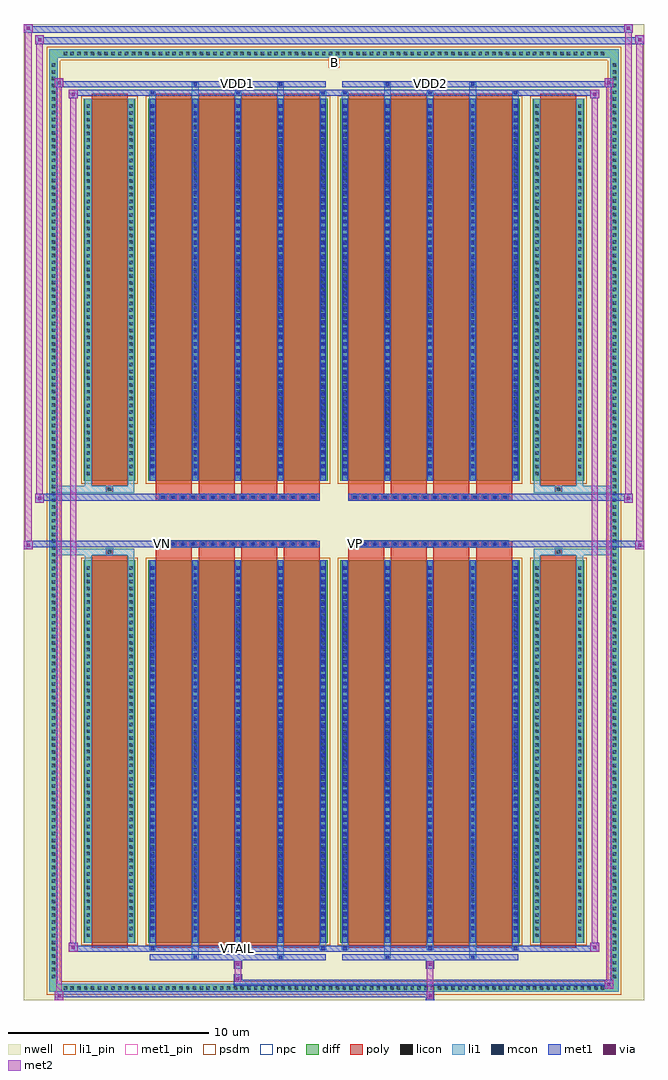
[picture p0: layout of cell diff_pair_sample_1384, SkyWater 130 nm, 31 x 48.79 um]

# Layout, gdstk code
import gdstk
lib = gdstk.Library(unit=1e-6, precision=5e-09)
def R(c, l, rs):  # rectangles x0, y0, x1, y1
    for r in rs: c.add(gdstk.rectangle(r[:2], r[2:], *l))
def A(c, l, x, y, w, h, nx, ny, dx, dy):  # array of equal rectangles
    R(c, l, [(x+i*dx, y+j*dy, x+i*dx+w, y+j*dy+h) for i in range(nx) for j in range(ny)])
def P(c, l, *ps):  # polygons
    for p in ps: c.add(gdstk.Polygon(p, *l))
nwell = (64, 20)
diff = (65, 20)
poly = (66, 20)
licon = (66, 44)
li1_pin = (67, 16)
li1 = (67, 20)
mcon = (67, 44)
met1_pin = (68, 16)
met1 = (68, 20)
via = (68, 44)
met2 = (69, 20)
psdm = (94, 20)
npc = (95, 20)

diff_pair_sample_1384 = lib.new_cell('diff_pair_sample_1384')
R(diff_pair_sample_1384, nwell, [(-15.5,-23.96,15.5,24.83), (-12.82,-22.15,-0.01,-0.805), (0.01,-22.15,12.82,-0.805), (-12.82,0.805,-0.01,22.15), (0.01,0.805,12.82,22.15)])
A(diff_pair_sample_1384, diff, -13.635, -23.56, 0.41, 0.41, 80, 2, 0.34, 46.71)
A(diff_pair_sample_1384, diff, -14.23, -22.985, 0.41, 0.41, 1, 135, 0, 0.34)
A(diff_pair_sample_1384, diff, 13.82, -22.985, 0.41, 0.41, 1, 135, 0, 0.34)
R(diff_pair_sample_1384, diff, [(-13.635,-23.56,13.635,-23.15), (-14.23,-22.985,-13.82,22.985), (13.82,-22.985,14.23,22.985), (-12.51,-21.105,-9.93,-1.985), (-9.29,-21.105,-0.32,-1.985), (0.32,-21.105,9.29,-1.985), (9.93,-21.105,12.51,-1.985), (-12.51,1.985,-9.93,21.105), (-9.29,1.985,-0.32,21.105), (0.32,1.985,9.29,21.105), (9.93,1.985,12.51,21.105), (-13.635,23.15,13.635,23.56)])
P(diff_pair_sample_1384, diff, [(14.23,23.56),(-14.23,23.56),(-14.23,-23.15),(-13.82,-23.15),(-13.82,23.15),(13.82,23.15),(13.82,-23.15),(-13.82,-23.15),(-14.23,-23.15),(-14.23,-23.56),(14.23,-23.56)])
A(diff_pair_sample_1384, poly, -8.9, -21.355, 1.8, 19.62, 4, 2, 2.13, 23.09)
A(diff_pair_sample_1384, poly, 0.71, -21.355, 1.8, 19.62, 4, 2, 2.13, 23.09)
A(diff_pair_sample_1384, poly, -8.9, -1.735, 1.8, 0.4, 4, 2, 2.13, 3.07)
A(diff_pair_sample_1384, poly, 0.71, -1.735, 1.8, 0.4, 4, 2, 2.13, 3.07)
A(diff_pair_sample_1384, poly, -8.72, -1.335, 0.33, 0.33, 16, 2, 0.5, 2.34)
A(diff_pair_sample_1384, poly, 0.89, -1.335, 0.33, 0.33, 16, 2, 0.5, 2.34)
R(diff_pair_sample_1384, poly, [(-12.12,-21.355,-10.32,-1.735), (10.32,-21.355,12.12,-1.735), (-11.385,-1.735,-11.055,-1.405), (-11.385,-1.735,-11.055,-1.405), (11.055,-1.735,11.385,-1.405), (11.055,-1.735,11.385,-1.405), (-8.9,-1.335,-0.71,-1.005), (0.71,-1.335,8.9,-1.005), (-8.9,1.005,-0.71,1.335), (0.71,1.005,8.9,1.335), (-11.385,1.405,-11.055,1.735), (-11.385,1.405,-11.055,1.735), (11.055,1.405,11.385,1.735), (11.055,1.405,11.385,1.735), (-12.12,1.735,-10.32,21.355), (10.32,1.735,12.12,21.355)])
A(diff_pair_sample_1384, licon, -13.515, -23.44, 0.17, 0.17, 80, 2, 0.34, 46.71)
A(diff_pair_sample_1384, licon, -14.11, -22.865, 0.17, 0.17, 1, 135, 0, 0.34)
A(diff_pair_sample_1384, licon, 13.94, -22.865, 0.17, 0.17, 1, 135, 0, 0.34)
A(diff_pair_sample_1384, licon, -12.37, -20.81, 0.17, 0.17, 1, 55, 0, 0.34)
A(diff_pair_sample_1384, licon, -10.24, -20.81, 0.17, 0.17, 1, 55, 0, 0.34)
A(diff_pair_sample_1384, licon, -9.15, -20.81, 0.17, 0.17, 5, 55, 2.13, 0.34)
A(diff_pair_sample_1384, licon, 0.46, -20.81, 0.17, 0.17, 5, 55, 2.13, 0.34)
A(diff_pair_sample_1384, licon, 10.07, -20.81, 0.17, 0.17, 1, 55, 0, 0.34)
A(diff_pair_sample_1384, licon, 12.2, -20.81, 0.17, 0.17, 1, 55, 0, 0.34)
A(diff_pair_sample_1384, licon, -8.64, -1.255, 0.17, 0.17, 16, 2, 0.5, 2.34)
A(diff_pair_sample_1384, licon, 0.97, -1.255, 0.17, 0.17, 16, 2, 0.5, 2.34)
A(diff_pair_sample_1384, licon, -12.37, 2.28, 0.17, 0.17, 1, 55, 0, 0.34)
A(diff_pair_sample_1384, licon, -10.24, 2.28, 0.17, 0.17, 1, 55, 0, 0.34)
A(diff_pair_sample_1384, licon, -9.15, 2.28, 0.17, 0.17, 5, 55, 2.13, 0.34)
A(diff_pair_sample_1384, licon, 0.46, 2.28, 0.17, 0.17, 5, 55, 2.13, 0.34)
A(diff_pair_sample_1384, licon, 10.07, 2.28, 0.17, 0.17, 1, 55, 0, 0.34)
A(diff_pair_sample_1384, licon, 12.2, 2.28, 0.17, 0.17, 1, 55, 0, 0.34)
R(diff_pair_sample_1384, licon, [(-11.305,-1.655,-11.135,-1.485), (11.135,-1.655,11.305,-1.485), (-11.305,1.485,-11.135,1.655), (11.135,1.485,11.305,1.655)])
R(diff_pair_sample_1384, li1_pin, [(-0.25,22.65,0.25,23.15)])
A(diff_pair_sample_1384, li1, -13.595, -23.52, 0.33, 0.33, 80, 2, 0.34, 46.71)
A(diff_pair_sample_1384, li1, -14.19, -22.945, 0.33, 0.33, 1, 135, 0, 0.34)
A(diff_pair_sample_1384, li1, 13.86, -22.945, 0.33, 0.33, 1, 135, 0, 0.34)
A(diff_pair_sample_1384, li1, -9.23, -21.48, 0.33, 0.375, 3, 2, 4.26, 42.585)
A(diff_pair_sample_1384, li1, -9.15, -21.48, 0.17, 0.17, 3, 2, 4.26, 42.79)
A(diff_pair_sample_1384, li1, 0.38, -21.48, 0.33, 0.375, 3, 2, 4.26, 42.585)
A(diff_pair_sample_1384, li1, 0.46, -21.48, 0.17, 0.17, 3, 2, 4.26, 42.79)
A(diff_pair_sample_1384, li1, -9.23, -21.105, 0.33, 19.12, 5, 2, 2.13, 23.09)
A(diff_pair_sample_1384, li1, 0.38, -21.105, 0.33, 19.12, 5, 2, 2.13, 23.09)
A(diff_pair_sample_1384, li1, -12.45, -20.89, 0.33, 0.33, 1, 55, 0, 0.34)
A(diff_pair_sample_1384, li1, -10.32, -20.89, 0.33, 0.33, 1, 55, 0, 0.34)
A(diff_pair_sample_1384, li1, -9.23, -20.89, 0.33, 0.33, 5, 55, 2.13, 0.34)
A(diff_pair_sample_1384, li1, 0.38, -20.89, 0.33, 0.33, 5, 55, 2.13, 0.34)
A(diff_pair_sample_1384, li1, 9.99, -20.89, 0.33, 0.33, 1, 55, 0, 0.34)
A(diff_pair_sample_1384, li1, 12.12, -20.89, 0.33, 0.33, 1, 55, 0, 0.34)
A(diff_pair_sample_1384, li1, -9.15, -20.81, 0.17, 0.17, 5, 52, 2.13, 0.36)
A(diff_pair_sample_1384, li1, -9.15, -20.81, 0.17, 18.53, 5, 2, 2.13, 23.09)
A(diff_pair_sample_1384, li1, 0.46, -20.81, 0.17, 0.17, 5, 52, 2.13, 0.36)
A(diff_pair_sample_1384, li1, 0.46, -20.81, 0.17, 18.53, 5, 2, 2.13, 23.09)
A(diff_pair_sample_1384, li1, -8.72, -1.335, 0.33, 0.33, 16, 2, 0.5, 2.34)
A(diff_pair_sample_1384, li1, 0.89, -1.335, 0.33, 0.33, 16, 2, 0.5, 2.34)
A(diff_pair_sample_1384, li1, -12.45, 2.2, 0.33, 0.33, 1, 55, 0, 0.34)
A(diff_pair_sample_1384, li1, -10.32, 2.2, 0.33, 0.33, 1, 55, 0, 0.34)
A(diff_pair_sample_1384, li1, -9.23, 2.2, 0.33, 0.33, 5, 55, 2.13, 0.34)
A(diff_pair_sample_1384, li1, 0.38, 2.2, 0.33, 0.33, 5, 55, 2.13, 0.34)
A(diff_pair_sample_1384, li1, 9.99, 2.2, 0.33, 0.33, 1, 55, 0, 0.34)
A(diff_pair_sample_1384, li1, 12.12, 2.2, 0.33, 0.33, 1, 55, 0, 0.34)
A(diff_pair_sample_1384, li1, -9.15, 2.28, 0.17, 0.17, 5, 52, 2.13, 0.36)
A(diff_pair_sample_1384, li1, 0.46, 2.28, 0.17, 0.17, 5, 52, 2.13, 0.36)
R(diff_pair_sample_1384, li1, [(-14.23,-23.56,-13.82,-23.15), (-14.23,-23.56,-13.82,-23.15), (-13.82,-23.56,13.82,-23.15), (13.82,-23.56,14.23,-23.15), (13.82,-23.56,14.23,-23.15), (-14.23,-23.15,-13.82,23.15), (13.82,-23.15,14.23,23.15), (-7.1,-21.91,-6.77,-21.105), (-7.02,-21.91,-6.85,-21.74), (-2.84,-21.91,-2.51,-21.105), (-2.76,-21.91,-2.59,-21.74), (2.51,-21.91,2.84,-21.105), (2.59,-21.91,2.76,-21.74), (6.77,-21.91,7.1,-21.105), (6.85,-21.91,7.02,-21.74), (-12.45,-21.105,-12.12,-1.985), (-10.32,-21.105,-9.99,-1.985), (9.99,-21.105,10.32,-1.985), (12.12,-21.105,12.45,-1.985), (-12.45,-1.985,-12.12,-1.405), (-10.32,-1.985,-9.99,-1.405), (9.99,-1.985,10.32,-1.405), (12.12,-1.985,12.45,-1.405), (-14.23,-1.735,-11.385,-1.405), (-12.45,-1.735,-11.385,-1.405), (-11.385,-1.735,-11.055,-1.405), (-11.055,-1.735,-9.99,-1.405), (9.99,-1.735,11.055,-1.405), (11.055,-1.735,11.385,-1.405), (11.055,-1.735,14.23,-1.405), (11.385,-1.735,12.45,-1.405), (-14.23,1.405,-11.385,1.735), (-12.45,1.405,-11.385,1.735), (-12.45,1.405,-12.12,1.985), (-11.385,1.405,-11.055,1.735), (-11.055,1.405,-9.99,1.735), (-10.32,1.405,-9.99,1.985), (9.99,1.405,11.055,1.735), (9.99,1.405,10.32,1.985), (11.055,1.405,11.385,1.735), (11.055,1.405,14.23,1.735), (11.385,1.405,12.45,1.735), (12.12,1.405,12.45,1.985), (-12.45,1.985,-12.12,21.105), (-10.32,1.985,-9.99,21.105), (9.99,1.985,10.32,21.105), (12.12,1.985,12.45,21.105), (-7.1,21.105,-6.77,21.91), (-2.84,21.105,-2.51,21.91), (2.51,21.105,2.84,21.91), (6.77,21.105,7.1,21.91), (-7.02,21.74,-6.85,21.91), (-2.76,21.74,-2.59,21.91), (2.59,21.74,2.76,21.91), (6.85,21.74,7.02,21.91), (-14.23,23.15,-13.82,23.56), (-14.23,23.15,-13.82,23.56), (-13.82,23.15,13.82,23.56), (13.82,23.15,14.23,23.56), (13.82,23.15,14.23,23.56)])
A(diff_pair_sample_1384, mcon, -9.15, -21.48, 0.17, 0.17, 3, 2, 4.26, 42.79)
A(diff_pair_sample_1384, mcon, 0.46, -21.48, 0.17, 0.17, 3, 2, 4.26, 42.79)
A(diff_pair_sample_1384, mcon, -9.15, -20.81, 0.17, 0.17, 5, 52, 2.13, 0.36)
A(diff_pair_sample_1384, mcon, 0.46, -20.81, 0.17, 0.17, 5, 52, 2.13, 0.36)
A(diff_pair_sample_1384, mcon, -8.64, -1.255, 0.17, 0.17, 16, 2, 0.5, 2.34)
A(diff_pair_sample_1384, mcon, 0.97, -1.255, 0.17, 0.17, 16, 2, 0.5, 2.34)
A(diff_pair_sample_1384, mcon, -9.15, 2.28, 0.17, 0.17, 5, 52, 2.13, 0.36)
A(diff_pair_sample_1384, mcon, 0.46, 2.28, 0.17, 0.17, 5, 52, 2.13, 0.36)
R(diff_pair_sample_1384, mcon, [(-7.02,-21.91,-6.85,-21.74), (-2.76,-21.91,-2.59,-21.74), (2.59,-21.91,2.76,-21.74), (6.85,-21.91,7.02,-21.74), (-7.02,21.74,-6.85,21.91), (-2.76,21.74,-2.59,21.91), (2.59,21.74,2.76,21.91), (6.85,21.74,7.02,21.91)])
R(diff_pair_sample_1384, met1_pin, [(-4.94,-21.52,-4.67,-21.25), (-8.69,-1.295,-8.42,-1.025), (0.92,-1.295,1.19,-1.025), (-4.94,21.7,-4.67,21.97), (4.67,21.7,4.94,21.97)])
A(diff_pair_sample_1384, met1, -9.21, -21.54, 0.29, 0.29, 3, 2, 4.26, 42.79)
A(diff_pair_sample_1384, met1, 0.4, -21.54, 0.29, 0.29, 3, 2, 4.26, 42.79)
A(diff_pair_sample_1384, met1, -9.21, -21.105, 0.29, 19.12, 5, 2, 2.13, 23.09)
A(diff_pair_sample_1384, met1, 0.4, -21.105, 0.29, 19.12, 5, 2, 2.13, 23.09)
A(diff_pair_sample_1384, met1, -9.21, -20.87, 0.29, 0.29, 5, 52, 2.13, 0.36)
A(diff_pair_sample_1384, met1, 0.4, -20.87, 0.29, 0.29, 5, 52, 2.13, 0.36)
A(diff_pair_sample_1384, met1, -8.7, -1.315, 0.29, 0.29, 16, 2, 0.5, 2.34)
A(diff_pair_sample_1384, met1, 0.91, -1.315, 0.29, 0.29, 16, 2, 0.5, 2.34)
A(diff_pair_sample_1384, met1, -9.21, 2.22, 0.29, 0.29, 5, 52, 2.13, 0.36)
A(diff_pair_sample_1384, met1, 0.4, 2.22, 0.29, 0.29, 5, 52, 2.13, 0.36)
R(diff_pair_sample_1384, met1, [(-13.96,-23.96,-13.53,-23.53), (4.59,-23.96,5.02,-23.53), (-13.96,-23.82,5.02,-23.53), (13.53,-23.39,13.96,-22.96), (-5.02,-23.25,13.96,-22.96), (-5.02,-23.11,-4.59,-22.68), (-5.02,-22.4,-4.59,-21.97), (4.59,-22.4,5.02,-21.97), (-9.21,-21.97,-0.4,-21.68), (-7.08,-21.97,-6.79,-21.68), (-2.82,-21.97,-2.53,-21.68), (0.4,-21.97,9.21,-21.68), (2.53,-21.97,2.82,-21.68), (6.79,-21.97,7.08,-21.68), (-13.25,-21.54,-12.82,-21.11), (-13.25,-21.54,-9.21,-21.25), (-9.21,-21.54,-0.4,-21.25), (-0.4,-21.54,0.4,-21.25), (0.4,-21.54,9.21,-21.25), (9.21,-21.54,13.25,-21.25), (12.82,-21.54,13.25,-21.11), (-15.5,-1.435,-15.07,-1.005), (15.07,-1.435,15.5,-1.005), (-15.5,-1.335,-0.71,-1.005), (-8.9,-1.335,-0.71,-1.005), (0.71,-1.335,8.9,-1.005), (0.71,-1.335,15.5,-1.005), (-14.93,0.905,-14.5,1.335), (14.5,0.905,14.93,1.335), (-14.93,1.005,-8.9,1.335), (-8.9,1.005,-0.71,1.335), (0.71,1.005,8.9,1.335), (8.9,1.005,14.93,1.335), (-13.25,21.11,-12.82,21.54), (12.82,21.11,13.25,21.54), (-13.25,21.25,-9.21,21.54), (-9.21,21.25,-0.4,21.54), (-0.4,21.25,0.4,21.54), (0.4,21.25,9.21,21.54), (9.21,21.25,13.25,21.54), (-13.96,21.68,-13.53,22.11), (-13.96,21.68,-9.21,21.97), (-9.21,21.68,-0.4,21.97), (-7.08,21.68,-6.79,21.97), (-2.82,21.68,-2.53,21.97), (0.4,21.68,9.21,21.97), (2.53,21.68,2.82,21.97), (6.79,21.68,7.08,21.97), (9.21,21.68,13.96,21.97), (13.53,21.68,13.96,22.11), (-14.93,23.83,-14.5,24.26), (-14.93,23.83,-12.82,24.16), (-12.82,23.83,12.82,24.16), (12.82,23.83,15.5,24.16), (15.07,23.83,15.5,24.26), (-15.5,24.4,-15.07,24.83), (-15.5,24.4,-12.82,24.73), (-12.82,24.4,12.82,24.73), (12.82,24.4,14.93,24.73), (14.5,24.4,14.93,24.83)])
R(diff_pair_sample_1384, via, [(-13.82,-23.82,-13.67,-23.67), (4.73,-23.82,4.88,-23.67), (13.67,-23.25,13.82,-23.1), (-4.88,-22.97,-4.73,-22.82), (-4.88,-22.26,-4.73,-22.11), (4.73,-22.26,4.88,-22.11), (-13.11,-21.4,-12.96,-21.25), (12.96,-21.4,13.11,-21.25), (-15.36,-1.295,-15.21,-1.145), (15.21,-1.295,15.36,-1.145), (-14.79,1.045,-14.64,1.195), (14.64,1.045,14.79,1.195), (-13.11,21.25,-12.96,21.4), (12.96,21.25,13.11,21.4), (-13.82,21.82,-13.67,21.97), (13.67,21.82,13.82,21.97), (-14.79,23.97,-14.64,24.12), (15.21,23.97,15.36,24.12), (-15.36,24.54,-15.21,24.69), (14.64,24.54,14.79,24.69)])
R(diff_pair_sample_1384, met2, [(-13.96,-23.96,-13.53,-23.53), (-13.89,-23.96,-13.6,22.11), (-13.6,-23.96,-13.53,-23.53), (-13.91,-23.91,-13.58,-23.58), (4.64,-23.91,4.97,-23.58), (4.64,-23.58,4.97,-22.35), (13.53,-23.39,13.96,-22.96), (13.6,-23.39,13.89,22.11), (13.89,-23.39,13.96,-22.96), (13.58,-23.34,13.91,-23.01), (-4.97,-23.06,-4.64,-22.73), (-4.97,-22.73,-4.64,-22.35), (-4.97,-22.35,-4.64,-22.02), (4.64,-22.35,4.97,-22.02), (-13.25,-21.54,-12.82,-21.11), (-13.18,-21.54,-12.89,21.54), (-12.89,-21.54,-12.82,-21.11), (12.82,-21.54,13.25,-21.11), (12.89,-21.54,13.18,21.54), (13.18,-21.54,13.25,-21.11), (-13.2,-21.49,-12.87,-21.16), (12.87,-21.49,13.2,-21.16), (-15.5,-1.435,-15.07,-1.005), (-15.45,-1.435,-15.12,24.83), (-15.12,-1.435,-15.07,-1.005), (15.07,-1.435,15.5,-1.005), (15.12,-1.435,15.45,24.26), (15.45,-1.435,15.5,-1.005), (-15.45,-1.385,-15.12,-1.055), (15.12,-1.385,15.45,-1.055), (-14.93,0.905,-14.5,1.335), (-14.88,0.905,-14.55,24.26), (-14.55,0.905,-14.5,1.335), (14.5,0.905,14.93,1.335), (14.55,0.905,14.88,24.83), (14.88,0.905,14.93,1.335), (-14.88,0.955,-14.55,1.285), (14.55,0.955,14.88,1.285), (-13.25,21.11,-12.82,21.54), (-12.89,21.11,-12.82,21.54), (12.82,21.11,13.25,21.54), (13.18,21.11,13.25,21.54), (-13.2,21.16,-12.87,21.49), (12.87,21.16,13.2,21.49), (-13.96,21.68,-13.53,22.11), (-13.6,21.68,-13.53,22.11), (13.53,21.68,13.96,22.11), (13.89,21.68,13.96,22.11), (-13.91,21.73,-13.58,22.06), (13.58,21.73,13.91,22.06), (-14.93,23.83,-14.5,24.26), (-14.55,23.83,-14.5,24.26), (15.07,23.83,15.5,24.26), (15.45,23.83,15.5,24.26), (-14.88,23.88,-14.55,24.21), (15.12,23.88,15.45,24.21), (-15.5,24.4,-15.07,24.83), (-15.12,24.4,-15.07,24.83), (14.5,24.4,14.93,24.83), (14.88,24.4,14.93,24.83), (-15.45,24.45,-15.12,24.78), (14.55,24.45,14.88,24.78)])
R(diff_pair_sample_1384, psdm, [(-12.64,-21.235,-9.8,-1.855), (-9.42,-21.235,-0.19,-1.855), (0.19,-21.235,9.42,-1.855), (9.8,-21.235,12.64,-1.855), (-12.64,1.855,-9.8,21.235), (-9.42,1.855,-0.19,21.235), (0.19,1.855,9.42,21.235), (9.8,1.855,12.64,21.235)])
P(diff_pair_sample_1384, psdm, [(14.36,23.69),(-14.36,23.69),(-14.36,-23.02),(-13.69,-23.02),(-13.69,23.02),(13.69,23.02),(13.69,-23.02),(-13.69,-23.02),(-14.36,-23.02),(-14.36,-23.69),(14.36,-23.69)])
A(diff_pair_sample_1384, npc, -8.74, -1.355, 0.37, 0.37, 16, 2, 0.5, 2.34)
A(diff_pair_sample_1384, npc, 0.87, -1.355, 0.37, 0.37, 16, 2, 0.5, 2.34)
R(diff_pair_sample_1384, npc, [(-11.405,-1.755,-11.035,-1.385), (11.035,-1.755,11.405,-1.385), (-8.74,-1.355,-7.87,-0.985), (-8.74,-1.355,-7.87,-0.985), (-8.24,-1.355,-7.37,-0.985), (-8.24,-1.355,-7.37,-0.985), (-7.74,-1.355,-6.87,-0.985), (-7.74,-1.355,-6.87,-0.985), (-7.24,-1.355,-6.37,-0.985), (-7.24,-1.355,-6.37,-0.985), (-6.74,-1.355,-5.87,-0.985), (-6.74,-1.355,-5.87,-0.985), (-6.24,-1.355,-5.37,-0.985), (-6.24,-1.355,-5.37,-0.985), (-5.74,-1.355,-4.87,-0.985), (-5.74,-1.355,-4.87,-0.985), (-5.24,-1.355,-4.37,-0.985), (-5.24,-1.355,-4.37,-0.985), (-4.74,-1.355,-3.87,-0.985), (-4.74,-1.355,-3.87,-0.985), (-4.24,-1.355,-3.37,-0.985), (-4.24,-1.355,-3.37,-0.985), (-3.74,-1.355,-2.87,-0.985), (-3.74,-1.355,-2.87,-0.985), (-3.24,-1.355,-2.37,-0.985), (-3.24,-1.355,-2.37,-0.985), (-2.74,-1.355,-1.87,-0.985), (-2.74,-1.355,-1.87,-0.985), (-2.24,-1.355,-1.37,-0.985), (-2.24,-1.355,-1.37,-0.985), (-1.74,-1.355,-0.87,-0.985), (-1.74,-1.355,-0.87,-0.985), (0.87,-1.355,1.74,-0.985), (0.87,-1.355,1.74,-0.985), (1.37,-1.355,2.24,-0.985), (1.37,-1.355,2.24,-0.985), (1.87,-1.355,2.74,-0.985), (1.87,-1.355,2.74,-0.985), (2.37,-1.355,3.24,-0.985), (2.37,-1.355,3.24,-0.985), (2.87,-1.355,3.74,-0.985), (2.87,-1.355,3.74,-0.985), (3.37,-1.355,4.24,-0.985), (3.37,-1.355,4.24,-0.985), (3.87,-1.355,4.74,-0.985), (3.87,-1.355,4.74,-0.985), (4.37,-1.355,5.24,-0.985), (4.37,-1.355,5.24,-0.985), (4.87,-1.355,5.74,-0.985), (4.87,-1.355,5.74,-0.985), (5.37,-1.355,6.24,-0.985), (5.37,-1.355,6.24,-0.985), (5.87,-1.355,6.74,-0.985), (5.87,-1.355,6.74,-0.985), (6.37,-1.355,7.24,-0.985), (6.37,-1.355,7.24,-0.985), (6.87,-1.355,7.74,-0.985), (6.87,-1.355,7.74,-0.985), (7.37,-1.355,8.24,-0.985), (7.37,-1.355,8.24,-0.985), (7.87,-1.355,8.74,-0.985), (7.87,-1.355,8.74,-0.985), (-8.74,0.985,-7.87,1.355), (-8.74,0.985,-7.87,1.355), (-8.24,0.985,-7.37,1.355), (-8.24,0.985,-7.37,1.355), (-7.74,0.985,-6.87,1.355), (-7.74,0.985,-6.87,1.355), (-7.24,0.985,-6.37,1.355), (-7.24,0.985,-6.37,1.355), (-6.74,0.985,-5.87,1.355), (-6.74,0.985,-5.87,1.355), (-6.24,0.985,-5.37,1.355), (-6.24,0.985,-5.37,1.355), (-5.74,0.985,-4.87,1.355), (-5.74,0.985,-4.87,1.355), (-5.24,0.985,-4.37,1.355), (-5.24,0.985,-4.37,1.355), (-4.74,0.985,-3.87,1.355), (-4.74,0.985,-3.87,1.355), (-4.24,0.985,-3.37,1.355), (-4.24,0.985,-3.37,1.355), (-3.74,0.985,-2.87,1.355), (-3.74,0.985,-2.87,1.355), (-3.24,0.985,-2.37,1.355), (-3.24,0.985,-2.37,1.355), (-2.74,0.985,-1.87,1.355), (-2.74,0.985,-1.87,1.355), (-2.24,0.985,-1.37,1.355), (-2.24,0.985,-1.37,1.355), (-1.74,0.985,-0.87,1.355), (-1.74,0.985,-0.87,1.355), (0.87,0.985,1.74,1.355), (0.87,0.985,1.74,1.355), (1.37,0.985,2.24,1.355), (1.37,0.985,2.24,1.355), (1.87,0.985,2.74,1.355), (1.87,0.985,2.74,1.355), (2.37,0.985,3.24,1.355), (2.37,0.985,3.24,1.355), (2.87,0.985,3.74,1.355), (2.87,0.985,3.74,1.355), (3.37,0.985,4.24,1.355), (3.37,0.985,4.24,1.355), (3.87,0.985,4.74,1.355), (3.87,0.985,4.74,1.355), (4.37,0.985,5.24,1.355), (4.37,0.985,5.24,1.355), (4.87,0.985,5.74,1.355), (4.87,0.985,5.74,1.355), (5.37,0.985,6.24,1.355), (5.37,0.985,6.24,1.355), (5.87,0.985,6.74,1.355), (5.87,0.985,6.74,1.355), (6.37,0.985,7.24,1.355), (6.37,0.985,7.24,1.355), (6.87,0.985,7.74,1.355), (6.87,0.985,7.74,1.355), (7.37,0.985,8.24,1.355), (7.37,0.985,8.24,1.355), (7.87,0.985,8.74,1.355), (7.87,0.985,8.74,1.355), (-11.405,1.385,-11.035,1.755), (11.035,1.385,11.405,1.755)])
diff_pair_sample_1384.add(gdstk.Label('VTAIL', (-4.805,-21.385), layer=68, texttype=5))
diff_pair_sample_1384.add(gdstk.Label('VN', (-8.555,-1.16), layer=68, texttype=5))
diff_pair_sample_1384.add(gdstk.Label('VP', (1.055,-1.16), layer=68, texttype=5))
diff_pair_sample_1384.add(gdstk.Label('B', (0,22.9), layer=67, texttype=5))
diff_pair_sample_1384.add(gdstk.Label('VDD2', (4.805,21.835), layer=68, texttype=5))
diff_pair_sample_1384.add(gdstk.Label('VDD1', (-4.805,21.835), layer=68, texttype=5))

lib.write_gds('diff_pair_sample_1384.gds')
